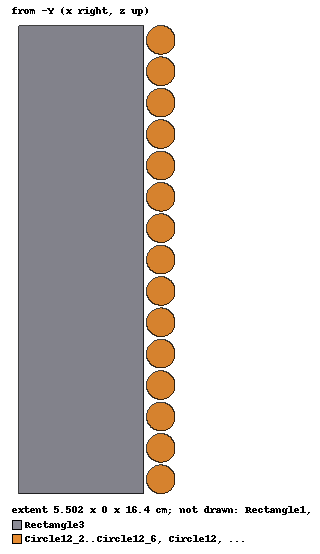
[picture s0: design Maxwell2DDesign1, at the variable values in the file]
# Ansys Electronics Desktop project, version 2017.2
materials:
  vacuum: permittivity=1
  copper: permeability=0.999991 conductivity=58000000
  air: permittivity=1.0006 permeability=1.0000004
  iron: permeability=4000 conductivity=10300000

design Maxwell2DDesign1 (Maxwell 2D, Magnetostatic, about Z geometry, model units cm)
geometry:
  Rectangle1 [air] = rectangle(corner=(10cm, 0cm, 30cm), z_size=-30cm, x_size=-10cm)
  Circle12 [copper] = circle(normal=Y, centre=(5cm, 0cm, 5cm), radius=0.50249378cm)
  Circle12_1..Circle12_14 [copper] = Circle12.duplicate_along_line(step=(0cm, 0cm, 1.1cm), total=15)
  Rectangle2 [air] = rectangle(corner=(0cm, 0cm, 0cm), z_size=26cm, x_size=10cm)
  Rectangle3 [iron] = rectangle(corner=(4.4cm, 0cm, 20.9cm), z_size=-16.4cm, x_size=-4.4cm)
  Polyline1 [non-model] = polyline((0cm, 0cm, 4.5cm) (0cm, 0cm, 20.9cm))
  Polyline2 [non-model] = polyline((0cm, 0cm, 12.7cm) (5.5024938cm, 0cm, 12.7cm))
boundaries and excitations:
  Balloon2: Balloon Edges=Rectangle2.edge(all 4)
  Current_1: Current Objects=Circle12 Current=1A IsPositive=true
  Current_2: Current Objects=Circle12_1 Current=1A IsPositive=true
  Current_3: Current Objects=Circle12_2 Current=1A IsPositive=true
  Current_4: Current Objects=Circle12_3 Current=1A IsPositive=true
  Current_5: Current Objects=Circle12_4 Current=1A IsPositive=true
  Current_6: Current Objects=Circle12_5 Current=1A IsPositive=true
  Current_7: Current Objects=Circle12_6 Current=1A IsPositive=true
  Current_8: Current Objects=Circle12_7 Current=1A IsPositive=true
  Current_9: Current Objects=Circle12_8 Current=1A IsPositive=true
  Current_10: Current Objects=Circle12_9 Current=1A IsPositive=true
  Current_11: Current Objects=Circle12_10 Current=1A IsPositive=true
  Current_12: Current Objects=Circle12_11 Current=1A IsPositive=true
  Current_13: Current Objects=Circle12_12 Current=1A IsPositive=true
  Current_14: Current Objects=Circle12_13 Current=1A IsPositive=true
  Current_15: Current Objects=Circle12_14 Current=1A IsPositive=true
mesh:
  initial mesh: GlobalSurfApproximation{CurvedSurfaceApproxChoice=UseSlider SliderMeshSettings=9} MeshMethod=AnsoftClassic
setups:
  Setup1: Magnetostatic MaximumPasses=10 MinimumPasses=2 MinimumConvergedPasses=1 PercentRefinement=30 PercentError=1 NonLinearResidual=0.0001
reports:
  XY Plot 1: Mag_B vs Distance on Setup1 : LastAdaptive
  XY Plot 2: Mag_B vs Distance on Setup1 : LastAdaptive
